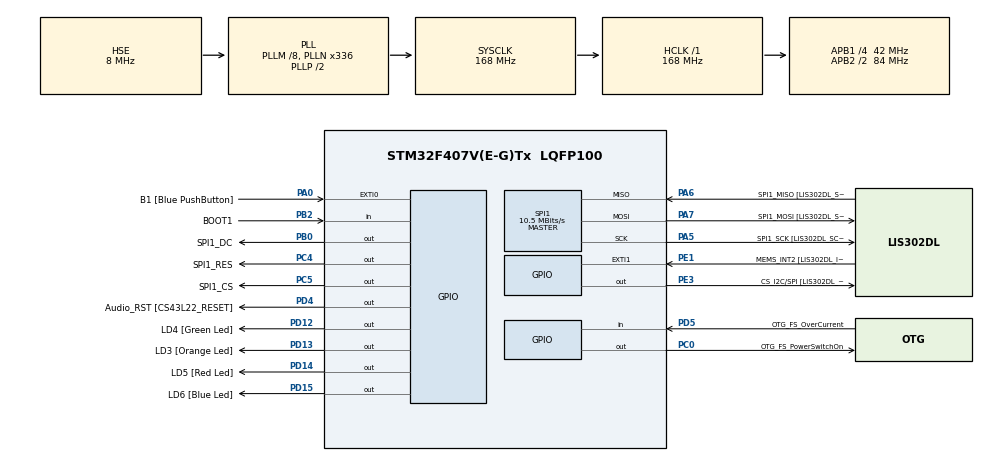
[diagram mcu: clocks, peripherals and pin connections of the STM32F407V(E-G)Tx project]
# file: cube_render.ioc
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Mcu.Family=STM32F4
Mcu.Name=STM32F407V(E-G)Tx
Mcu.Package=LQFP100
NVIC.PriorityGroup=NVIC_PRIORITYGROUP_0
PA0-WKUP.GPIO_Label=B1 [Blue PushButton]
PA0-WKUP.GPIO_ModeDefaultEXTI=GPIO_MODE_EVT_RISING
PA0-WKUP.GPIO_PuPd=GPIO_NOPULL
PA0-WKUP.Signal=GPXTI0
PA10.GPIO_Label=OTG_FS_ID
PA10.GPIO_Mode=GPIO_MODE_AF_PP
PA10.GPIO_PuPd=GPIO_NOPULL
PA10.GPIO_Speed=GPIO_SPEED_FREQ_LOW
PA10.Signal=USB_OTG_FS_ID
PA11.GPIO_Label=OTG_FS_DM
PA11.GPIO_Mode=GPIO_MODE_AF_PP
PA11.GPIO_PuPd=GPIO_NOPULL
PA11.GPIO_Speed=GPIO_SPEED_FREQ_LOW
PA11.Signal=USB_OTG_FS_DM
PA12.GPIO_Label=OTG_FS_DP
PA12.GPIO_Mode=GPIO_MODE_AF_PP
PA12.GPIO_PuPd=GPIO_NOPULL
PA12.GPIO_Speed=GPIO_SPEED_FREQ_LOW
PA12.Signal=USB_OTG_FS_DP
PA13.GPIO_Label=SWDIO
PA13.Mode=Serial_Wire
PA13.Signal=SYS_JTMS-SWDIO
PA14.GPIO_Label=SWCLK
PA14.Mode=Serial_Wire
PA14.Signal=SYS_JTCK-SWCLK
PA4.GPIO_Label=I2S3_WS [CS43L22_LRCK]
PA4.GPIO_Mode=GPIO_MODE_AF_PP
PA4.GPIO_PuPd=GPIO_NOPULL
PA4.GPIO_Speed=GPIO_SPEED_FREQ_LOW
PA4.Signal=I2S3_WS
PA5.GPIO_Label=SPI1_SCK [LIS302DL_SCL/SPC]
PA5.GPIO_Mode=GPIO_MODE_AF_PP
PA5.GPIO_PuPd=GPIO_NOPULL
PA5.GPIO_Speed=GPIO_SPEED_FREQ_LOW
PA5.Mode=Full_Duplex_Master
PA5.Signal=SPI1_SCK
PA6.GPIO_Label=SPI1_MISO [LIS302DL_SDO]
PA6.GPIO_Mode=GPIO_MODE_AF_PP
PA6.GPIO_PuPd=GPIO_NOPULL
PA6.GPIO_Speed=GPIO_SPEED_FREQ_LOW
PA6.Mode=Full_Duplex_Master
PA6.Signal=SPI1_MISO
PA7.GPIO_Label=SPI1_MOSI [LIS302DL_SDA/SDI/SDO]
PA7.GPIO_Mode=GPIO_MODE_AF_PP
PA7.GPIO_PuPd=GPIO_NOPULL
PA7.GPIO_Speed=GPIO_SPEED_FREQ_LOW
PA7.Mode=Full_Duplex_Master
PA7.Signal=SPI1_MOSI
PA9.GPIO_Label=VBUS_FS
PA9.GPIO_Mode=GPIO_MODE_INPUT
PA9.GPIO_PuPd=GPIO_NOPULL
PA9.Signal=USB_OTG_FS_VBUS
PB0.GPIO_Label=SPI1_DC
PB0.Signal=GPIO_Output
PB10.GPIO_Label=CLK_IN [MP45DT02_CLK]
PB10.GPIO_Mode=GPIO_MODE_AF_PP
PB10.GPIO_PuPd=GPIO_NOPULL
PB10.GPIO_Speed=GPIO_SPEED_FREQ_LOW
PB10.Signal=I2S2_CK
PB2.GPIO_Label=BOOT1
PB2.GPIO_Mode=GPIO_MODE_INPUT
PB2.GPIO_PuPd=GPIO_NOPULL
PB2.Signal=GPIO_Input
PB3.GPIO_Label=SWO
PB3.Signal=SYS_JTDO-SWO
PB6.GPIO_Label=Audio_SCL [CS43L22_SCL]
PB6.GPIO_Mode=GPIO_MODE_AF_OD
PB6.GPIO_Pu=GPIO_PULLUP
PB6.GPIO_PuPd=GPIO_NOPULL
PB6.GPIO_Speed=GPIO_SPEED_FREQ_LOW
PB6.Signal=I2C1_SCL
PB9.GPIO_Label=Audio_SDA [CS43L22_SDA]
PB9.GPIO_Mode=GPIO_MODE_AF_OD
PB9.GPIO_Pu=GPIO_PULLUP
PB9.GPIO_PuPd=GPIO_NOPULL
PB9.GPIO_Speed=GPIO_SPEED_FREQ_LOW
PB9.Signal=I2C1_SDA
PC0.GPIO_Label=OTG_FS_PowerSwitchOn
PC0.GPIO_PuPd=GPIO_NOPULL
PC0.GPIO_Speed=GPIO_SPEED_FREQ_LOW
PC0.PinState=GPIO_PIN_SET
PC0.Signal=GPIO_Output
PC10.GPIO_Label=I2S3_SCK [CS43L22_SCLK]
PC10.GPIO_Mode=GPIO_MODE_AF_PP
PC10.GPIO_PuPd=GPIO_NOPULL
PC10.GPIO_Speed=GPIO_SPEED_FREQ_LOW
PC10.Signal=I2S3_CK
PC12.GPIO_Label=I2S3_SD [CS43L22_SDIN]
PC12.GPIO_Mode=GPIO_MODE_AF_PP
PC12.GPIO_PuPd=GPIO_NOPULL
PC12.GPIO_Speed=GPIO_SPEED_FREQ_LOW
PC12.Signal=I2S3_SD
PC14-OSC32_IN.GPIO_Label=PC14-OSC32_IN
PC14-OSC32_IN.Mode=LSE-External-Oscillator
PC14-OSC32_IN.Signal=RCC_OSC32_IN
PC15-OSC32_OUT.GPIO_Label=PC15-OSC32_OUT
PC15-OSC32_OUT.Mode=LSE-External-Oscillator
PC15-OSC32_OUT.Signal=RCC_OSC32_OUT
PC3.GPIO_Label=PDM_OUT [MP45DT02_DOUT]
PC3.GPIO_Mode=GPIO_MODE_AF_PP
PC3.GPIO_PuPd=GPIO_NOPULL
PC3.GPIO_Speed=GPIO_SPEED_FREQ_LOW
PC3.Signal=I2S2_SD
PC4.GPIO_Label=SPI1_RES
PC4.Signal=GPIO_Output
PC5.GPIO_Label=SPI1_CS
PC5.Signal=GPIO_Output
PC7.GPIO_Label=I2S3_MCK [CS43L22_MCLK]
PC7.GPIO_Mode=GPIO_MODE_AF_PP
PC7.GPIO_PuPd=GPIO_NOPULL
PC7.GPIO_Speed=GPIO_SPEED_FREQ_LOW
PC7.Signal=I2S3_MCK
PD12.GPIO_Label=LD4 [Green Led]
PD12.GPIO_PuPd=GPIO_NOPULL
PD12.GPIO_Speed=GPIO_SPEED_FREQ_LOW
PD12.Signal=GPIO_Output
PD13.GPIO_Label=LD3 [Orange Led]
PD13.GPIO_PuPd=GPIO_NOPULL
PD13.GPIO_Speed=GPIO_SPEED_FREQ_LOW
PD13.Signal=GPIO_Output
PD14.GPIO_Label=LD5 [Red Led]
PD14.GPIO_PuPd=GPIO_NOPULL
PD14.GPIO_Speed=GPIO_SPEED_FREQ_LOW
PD14.Signal=GPIO_Output
PD15.GPIO_Label=LD6 [Blue Led]
PD15.GPIO_PuPd=GPIO_NOPULL
PD15.GPIO_Speed=GPIO_SPEED_FREQ_LOW
PD15.Signal=GPIO_Output
PD4.GPIO_Label=Audio_RST [CS43L22_RESET]
PD4.GPIO_PuPd=GPIO_NOPULL
PD4.GPIO_Speed=GPIO_SPEED_FREQ_LOW
PD4.Signal=GPIO_Output
PD5.GPIO_Label=OTG_FS_OverCurrent
PD5.GPIO_Mode=GPIO_MODE_INPUT
PD5.GPIO_PuPd=GPIO_NOPULL
PD5.Signal=GPIO_Input
PE1.GPIO_Label=MEMS_INT2 [LIS302DL_INT2]
PE1.GPIO_ModeDefaultEXTI=GPIO_MODE_EVT_RISING
PE1.GPIO_PuPd=GPIO_NOPULL
PE1.Signal=GPXTI1
PE3.GPIO_Label=CS_I2C/SPI [LIS302DL_CS_I2C/SPI]
PE3.GPIO_PuPd=GPIO_NOPULL
PE3.GPIO_Speed=GPIO_SPEED_FREQ_LOW
PE3.Signal=GPIO_Output
PH0-OSC_IN.GPIO_Label=PH0-OSC_IN
PH0-OSC_IN.Mode=HSE-External-Oscillator
PH0-OSC_IN.Signal=RCC_OSC_IN
PH1-OSC_OUT.GPIO_Label=PH1-OSC_OUT
PH1-OSC_OUT.Mode=HSE-External-Oscillator
PH1-OSC_OUT.Signal=RCC_OSC_OUT
ProjectManager.HeapSize=0x200
ProjectManager.StackSize=0x400
ProjectManager.TargetToolchain=STM32CubeIDE
RCC.48MHZClocksFreq_Value=48000000
RCC.AHBFreq_Value=168000000
RCC.APB1CLKDivider=RCC_HCLK_DIV4
RCC.APB1Freq_Value=42000000
RCC.APB1TimFreq_Value=84000000
RCC.APB2CLKDivider=RCC_HCLK_DIV2
RCC.APB2Freq_Value=84000000
RCC.APB2TimFreq_Value=168000000
RCC.CortexFreq_Value=168000000
RCC.HCLKFreq_Value=168000000
RCC.HSE_VALUE=8000000
RCC.HSI_VALUE=16000000
RCC.PLLM=8
RCC.PLLN=336
RCC.PLLQ=7
RCC.PLLSourceVirtual=RCC_PLLSOURCE_HSE
RCC.SYSCLKFreq_VALUE=168000000
RCC.SYSCLKSource=RCC_SYSCLKSOURCE_PLLCLK
RCC.VCOOutputFreq_Value=336000000
SPI1.BaudRatePrescaler=SPI_BAUDRATEPRESCALER_8
SPI1.BaudRatePrescaler-Full_Duplex_Master=SPI_BAUDRATEPRESCALER_2
SPI1.CalculateBaudRate=10.5 MBits/s
SPI1.CalculateBaudRate-Full_Duplex_Master=42.0 MBits/s
SPI1.Direction=SPI_DIRECTION_2LINES
SPI1.Mode=SPI_MODE_MASTER
SPI1.Mode-Full_Duplex_Master=SPI_MODE_MASTER
SPI1.VirtualType=VM_MASTER
board=STM32F407G-DISC1

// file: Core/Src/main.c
/* USER CODE BEGIN Header */
/**
  ******************************************************************************
  * @file           : main.c
  * @brief          : Main program body
  ******************************************************************************
  * @attention
  *
  * Copyright (c) 2023 STMicroelectronics.
  * All rights reserved.
  *
  * This software is licensed under terms that can be found in the LICENSE file
  * in the root directory of this software component.
  * If no LICENSE file comes with this software, it is provided AS-IS.
  *
  ******************************************************************************
  */
/* USER CODE END Header */
#include "main.h"
#include "spi.h"
#include "gpio.h"

/* USER CODE BEGIN Includes */

#include <string.h>
#include "ili9341.h"
#include <math.h>

/* USER CODE END Includes */

/* USER CODE BEGIN PTD */

/* 3D point structure */
typedef struct {
	float x;
	float y;
	float z;
} Point_xyz;

/* USER CODE END PTD */

/* USER CODE BEGIN PD */

#define WIDTH ILI9341_WIDTH
#define HEIGHT ILI9341_HEIGHT

/* Calculated points are multiplied by this value */
#define SCALE_VAL 50

/* USER CODE END PD */

/* USER CODE BEGIN PV */

/* Starting points */
const Point_xyz point1 = {-1.0f, -1.0f, 1.0f};
const Point_xyz point2 = {1.0f, -1.0f, 1.0f};
const Point_xyz point3 = {1.0f, 1.0f, 1.0f};
const Point_xyz point4 = {-1.0f, 1.0f, 1.0f};
const Point_xyz point5 = {-1.0f, -1.0f, -1.0f};
const Point_xyz point6 = {1.0f, -1.0f, -1.0f};
const Point_xyz point7 = {1.0f, 1.0f, -1.0f};
const Point_xyz point8 = {-1.0f, 1.0f, -1.0f};

/* Array of base (non rotated) cube points */
const Point_xyz base_cube[8] = {point1, point2, point3, point4, point5, point6, point7, point8};

/* Array of rotated cube points */
Point_xyz rotated_cube[8];

float projection_matrix[3][3] = {
		{1.0f, 0.0f, 0.0f},
		{0.0f, 1.0f, 0.0f},
		{0.0f, 0.0f, 0.0f}
};

/* Displayed image */
uint8_t image[320][240];

/* Value of angle in degrees */
uint16_t angle = 0;

/* Value of angle in radians */
float rad = 0.0f;

/* USER CODE END PV */

void SystemClock_Config(void);
/* USER CODE BEGIN PFP */

void scale_cube(Point_xyz *cube);
void project_cube(Point_xyz *cube);
void rotate_cube_x(float rad, Point_xyz *rotated_cube, Point_xyz const *cube);
void rotate_cube_y(float rad, Point_xyz *rotated_cube, Point_xyz const *cube);
void rotate_cube_z(float rad, Point_xyz *rotated_cube, Point_xyz const *cube);
void draw_line(uint8_t pixel_x, uint8_t pixel_y, uint8_t dest_x, uint8_t dest_y);
void clear_display(void);
void display_cube(void);
inline float to_radians(float degrees);
Point_xyz dot_matrix(float const matrix[3][3], Point_xyz point);

/* USER CODE END PFP */

int main(void)
{
  /* USER CODE BEGIN 1 */

  /* At first rotated cube should have base cube values */
  memcpy(&rotated_cube, &base_cube, sizeof(base_cube));

  clear_display();

  /* USER CODE END 1 */

  /* MCU Configuration--------------------------------------------------------*/

  /* Reset of all peripherals, Initializes the Flash interface and the Systick. */
  HAL_Init();

  /* Configure the system clock */
  SystemClock_Config();

  /* Initialize all configured peripherals */
  MX_GPIO_Init();
  MX_SPI1_Init();
  /* USER CODE BEGIN 2 */

  /* Display initialize */
  ILI9341_Init();
  ILI9341_FillScreen(ILI9341_BLACK);

  /* USER CODE END 2 */

  /* Infinite loop */
  /* USER CODE BEGIN WHILE */
  while (1)
  {

	  /* Rotate cube by all angles */
	  rotate_cube_x(rad, rotated_cube, base_cube);
	  rotate_cube_y(rad, rotated_cube, rotated_cube);
	  rotate_cube_z(rad, rotated_cube, rotated_cube);

	  /* Scale cube by scale value */
	  scale_cube(rotated_cube);

	  project_cube(rotated_cube);

	  display_cube();

	  angle++;

	  if (angle > 359) {
		  angle = 0;
	  }

	  /* Convert degrees to radians */
	  rad = to_radians(angle);

	  /* Clear display */
	  clear_display();

    /* USER CODE END WHILE */

  }
}

void SystemClock_Config(void)
{
  RCC_OscInitTypeDef RCC_OscInitStruct = {0};
  RCC_ClkInitTypeDef RCC_ClkInitStruct = {0};

  /** Configure the main internal regulator output voltage
  */
  __HAL_RCC_PWR_CLK_ENABLE();
  __HAL_PWR_VOLTAGESCALING_CONFIG(PWR_REGULATOR_VOLTAGE_SCALE1);

  /** Initializes the RCC Oscillators according to the specified parameters
  * in the RCC_OscInitTypeDef structure.
  */
  RCC_OscInitStruct.OscillatorType = RCC_OSCILLATORTYPE_HSE;
  RCC_OscInitStruct.HSEState = RCC_HSE_ON;
  RCC_OscInitStruct.PLL.PLLState = RCC_PLL_ON;
  RCC_OscInitStruct.PLL.PLLSource = RCC_PLLSOURCE_HSE;
  RCC_OscInitStruct.PLL.PLLM = 8;
  RCC_OscInitStruct.PLL.PLLN = 336;
  RCC_OscInitStruct.PLL.PLLP = RCC_PLLP_DIV2;
  RCC_OscInitStruct.PLL.PLLQ = 7;
  if (HAL_RCC_OscConfig(&RCC_OscInitStruct) != HAL_OK)
  {
    Error_Handler();
  }

  /** Initializes the CPU, AHB and APB buses clocks
  */
  RCC_ClkInitStruct.ClockType = RCC_CLOCKTYPE_HCLK|RCC_CLOCKTYPE_SYSCLK
                              |RCC_CLOCKTYPE_PCLK1|RCC_CLOCKTYPE_PCLK2;
  RCC_ClkInitStruct.SYSCLKSource = RCC_SYSCLKSOURCE_PLLCLK;
  RCC_ClkInitStruct.AHBCLKDivider = RCC_SYSCLK_DIV1;
  RCC_ClkInitStruct.APB1CLKDivider = RCC_HCLK_DIV4;
  RCC_ClkInitStruct.APB2CLKDivider = RCC_HCLK_DIV2;

  if (HAL_RCC_ClockConfig(&RCC_ClkInitStruct, FLASH_LATENCY_5) != HAL_OK)
  {
    Error_Handler();
  }
}

/* USER CODE BEGIN 4 */

/**
  * @brief  Scale points of cube by constant value to proper display
  * @param  cube: Pointer to array of cube's 3D points
  * @retval None
  */
void scale_cube(Point_xyz *cube) {

	for (uint8_t i = 0; i < 8; i++) {
		cube[i].x = cube[i].x * SCALE_VAL + WIDTH / 2;
		cube[i].y = cube[i].y * SCALE_VAL + HEIGHT / 2;
		cube[i].z = cube[i].z * SCALE_VAL + HEIGHT / 2;
	}
}

/**
  * @brief  Prepare cube to display it on 2D plane
  * @param  cube: Pointer to array of cube's 3D points
  * @retval None
  */
void project_cube(Point_xyz *cube) {

	for (uint8_t i = 0; i < 8; i++) {
		cube[i] = dot_matrix(projection_matrix, cube[i]);
	}
}

/**
  * @brief       Rotate cube by angle in the X axis
  * @param[in]   angle: Angle through which the rotation is performed
  * @param[out]  rotated_cube: Pointer to rotated cube
  * @param[in]   cube: Pointer to cube before rotation
  * @retval      None
  */
void rotate_cube_x(float angle, Point_xyz *rotated_cube, Point_xyz const *cube) {

	float const matrix[3][3] = {
			{1.0f, 0.0f, 0.0f},
			{0.0f, cosf(rad), -sinf(rad)},
			{0.0f, sinf(rad) , cosf(rad)}
	};

	for (uint8_t i = 0; i < 8; i++) {
		rotated_cube[i] = dot_matrix(matrix, cube[i]);
	}

}

/**
  * @brief       Rotate cube by angle in the Y axis
  * @param[in]   angle: Angle through which the rotation is performed
  * @param[out]  rotated_cube: Pointer to rotated cube
  * @param[in]   cube: Pointer to cube before rotation
  * @retval      None
  */
void rotate_cube_y(float angle, Point_xyz *rotated_cube, Point_xyz const *cube) {

	float const matrix[3][3] = {
			{cosf(rad), 0.0f, sinf(rad)},
			{0.0f, 1.0f, 0.0f},
			{-sinf(rad), 0.0f, cosf(rad)}
	};

	for (uint8_t i = 0; i < 8; i++) {
		rotated_cube[i] = dot_matrix(matrix, cube[i]);
	}

}

/**
  * @brief  Draw lines on display between two 2D points
  * @param  pixel_x: Start value on the X axis
  * @param  pixel_y: Start value on the Y axis
  * @param  dest_x: End value on the X axis
  * @param  dest_y: End value on the Y axis
  * @retval None
  */
void draw_line(uint8_t pixel_x, uint8_t pixel_y, uint8_t dest_x, uint8_t dest_y) {
	/* Drawing is performed by calculating equation of a line passing through two points */

	float a = 0.0f, b = 0.0f;

	if (pixel_x != dest_x) {

		a = (float)(dest_y - pixel_y) / (float)(dest_x - pixel_x);
		b = (float)dest_y - (float)dest_x * a;

		while (!(pixel_y == dest_y && pixel_x == dest_x)) {

			pixel_y = round(pixel_x * a + b);

			if (image[pixel_x][pixel_y] == 0) {
				ILI9341_DrawPixel(pixel_x, pixel_y, ILI9341_WHITE);
			}

			image[pixel_x][pixel_y] = 1;

			if (pixel_x < dest_x) {
				pixel_x++;
			} else if (pixel_x > dest_x) {
				pixel_x--;
			}

		}

	} else if (pixel_y != dest_y) {

		while (!(pixel_y == dest_y && pixel_x == dest_x)) {

			if (image[pixel_x][pixel_y] == 0) {
				ILI9341_DrawPixel(pixel_x, pixel_y, ILI9341_WHITE);
			}

			image[pixel_x][pixel_y] = 1;

			if (pixel_y < dest_y) {
				pixel_y++;
			} else if (pixel_y > dest_y) {
				pixel_y--;
			}
		}
	}
}

/**
  * @brief       Rotate cube by angle in the Z axis
  * @param[in]   angle: Angle through which the rotation is performed
  * @param[out]  rotated_cube: Pointer to rotated cube
  * @param[in]   cube: Pointer to cube before rotation
  * @retval      None
  */
void rotate_cube_z(float angle, Point_xyz *rotated_cube, Point_xyz const *cube) {

	float const matrix[3][3] = {
			{cosf(rad), -sinf(rad), 0.0f},
			{sinf(rad), cosf(rad), 0.0f},
			{0.0f, 0.0f, 1.0f}
	};

	for (uint8_t i = 0; i < 8; i++) {
		rotated_cube[i] = dot_matrix(matrix, cube[i]);
	}

}

/**
  * @brief  Display cube by drawing line between points
  * @retval None
  */
void display_cube() {

	uint8_t dest_x, dest_y, pixel_x, pixel_y;

	for (uint8_t i = 0; i < 8; i++) {
		pixel_x = (uint8_t)rotated_cube[i].x;
		pixel_y = (uint8_t)rotated_cube[i].y;

		if (i < 4) {
			dest_x = (uint8_t)rotated_cube[i + 4].x;
			dest_y = (uint8_t)rotated_cube[i + 4].y;

			draw_line(pixel_x, pixel_y, dest_x, dest_y);
		}

		if (i == 3 || i == 7) {
			dest_x = (uint8_t)rotated_cube[i - 3].x;
			dest_y = (uint8_t)rotated_cube[i - 3].y;
		} else {
			dest_x = (uint8_t)rotated_cube[i + 1].x;
			dest_y = (uint8_t)rotated_cube[i + 1].y;
		}

		draw_line(pixel_x, pixel_y, dest_x, dest_y);
	}
}

/**
  * @brief  Clear display and image buffer
  * @retval None
  */
void clear_display() {

	for (uint16_t i = 0; i < ILI9341_WIDTH; i++) {
		for (uint8_t j = 0; j < ILI9341_HEIGHT; j++) {
			if (image[i][j] == 1) {
				ILI9341_DrawPixel(i, j, ILI9341_BLACK);
				image[i][j] = 0;
			}
		}
	}
}

/**
  * @brief  Convert angle in degrees to angle in radians
  * @param  degrees: Angle in degrees
  * @retval Angle in radians
  */
float to_radians(float degrees) {
    return degrees * M_PI / 180.0f;
}

/**
  * @brief  Performs matrix multiplication by a point
  * @param  matrix: Matrix that will be multiplied
  * @param  point: Point that will be multiplied
  * @retval Result of matrix multiplication
  */
Point_xyz dot_matrix(float const matrix[3][3], Point_xyz point) {

	Point_xyz new_point = {0.0f, 0.0f, 0.0f};

	float point_array[3] = {point.x, point.y, point.z};

	for (uint8_t i = 0; i < 3; i++) {
		for (uint8_t j = 0; j < 3; j++) {
			switch(i) {
				case 0:
					new_point.x += matrix[i][j] * point_array[j];
					break;
				case 1:
					new_point.y += matrix[i][j] * point_array[j];
					break;
				case 2:
					new_point.z += matrix[i][j] * point_array[j];
					break;
				default:
					break;
			}
		}
	}

	return new_point;
}
/* USER CODE END 4 */

void Error_Handler(void)
{
  __disable_irq();
  while (1)
  {
  }
}
